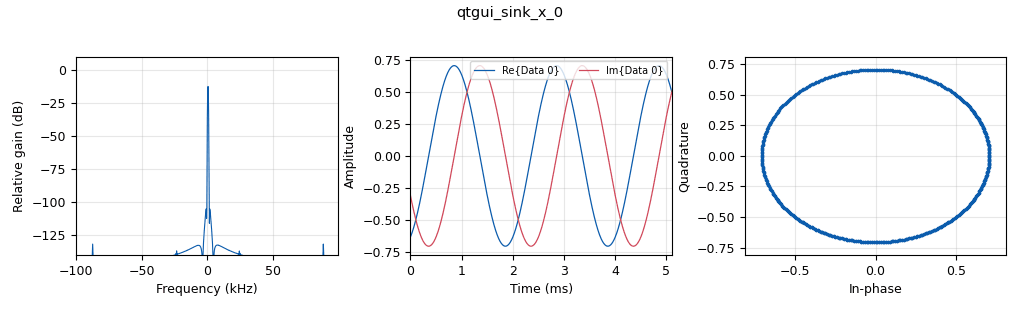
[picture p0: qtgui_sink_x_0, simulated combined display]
<?xml version='1.0' encoding='utf-8'?>
<?grc format='1' created='3.7.12'?>
<flow_graph>
<block>
<key>options</key>
<param><key>id</key><value>top_block</value></param>
<param><key>generate_options</key><value>qt_gui</value></param>
</block>
<block>
<key>variable_qtgui_range</key>
<param><key>id</key><value>amp</value></param>
<param><key>value</key><value>0.5</value></param>
<param><key>label</key><value>Amplitude</value></param>
<param><key>orient</key><value>Qt.Horizontal</value></param>
<param><key>start</key><value>0</value></param>
<param><key>step</key><value>0.1</value></param>
<param><key>stop</key><value>1</value></param>
</block>
<block>
<key>variable_qtgui_range</key>
<param><key>id</key><value>amp_noise</value></param>
<param><key>value</key><value>0</value></param>
<param><key>label</key><value>Amplitude do ruido</value></param>
<param><key>orient</key><value>Qt.Horizontal</value></param>
<param><key>start</key><value>0</value></param>
<param><key>step</key><value>0.01</value></param>
<param><key>stop</key><value>1</value></param>
</block>
<block>
<key>variable_qtgui_range</key>
<param><key>id</key><value>freq</value></param>
<param><key>value</key><value>500</value></param>
<param><key>label</key><value>Frequence</value></param>
<param><key>orient</key><value>Qt.Horizontal</value></param>
<param><key>start</key><value>0</value></param>
<param><key>step</key><value>1</value></param>
<param><key>stop</key><value>20000</value></param>
</block>
<block>
<key>variable</key>
<param><key>id</key><value>samp_rate</value></param>
<param><key>value</key><value>200000</value></param>
</block>
<block>
<key>analog_sig_source_x</key>
<param><key>id</key><value>analog_sig_source_x_0</value></param>
<param><key>amp</key><value>amp</value></param>
<param><key>freq</key><value>freq</value></param>
<param><key>offset</key><value>0</value></param>
<param><key>type</key><value>complex</value></param>
<param><key>samp_rate</key><value>samp_rate</value></param>
<param><key>waveform</key><value>analog.GR_COS_WAVE</value></param>
</block>
<block>
<key>channels_channel_model</key>
<param><key>id</key><value>channels_channel_model_0</value></param>
<param><key>epsilon</key><value>1.0</value></param>
<param><key>freq_offset</key><value>0</value></param>
<param><key>noise_voltage</key><value>amp_noise</value></param>
<param><key>seed</key><value>0</value></param>
<param><key>taps</key><value>1.0 + 1.0j</value></param>
</block>
<block>
<key>qtgui_sink_x</key>
<param><key>id</key><value>qtgui_sink_x_0</value></param>
<param><key>bw</key><value>samp_rate</value></param>
<param><key>fc</key><value>0</value></param>
<param><key>freqchangevar</key><value>None</value></param>
<param><key>fftsize</key><value>1024</value></param>
<param><key>showports</key><value>True</value></param>
<param><key>type</key><value>complex</value></param>
<param><key>wintype</key><value>firdes.WIN_BLACKMAN_hARRIS</value></param>
</block>
<connection><source_block_id>analog_sig_source_x_0</source_block_id><sink_block_id>channels_channel_model_0</sink_block_id><source_key>0</source_key><sink_key>0</sink_key></connection>
<connection><source_block_id>channels_channel_model_0</source_block_id><sink_block_id>qtgui_sink_x_0</sink_block_id><source_key>0</source_key><sink_key>0</sink_key></connection>
</flow_graph>
